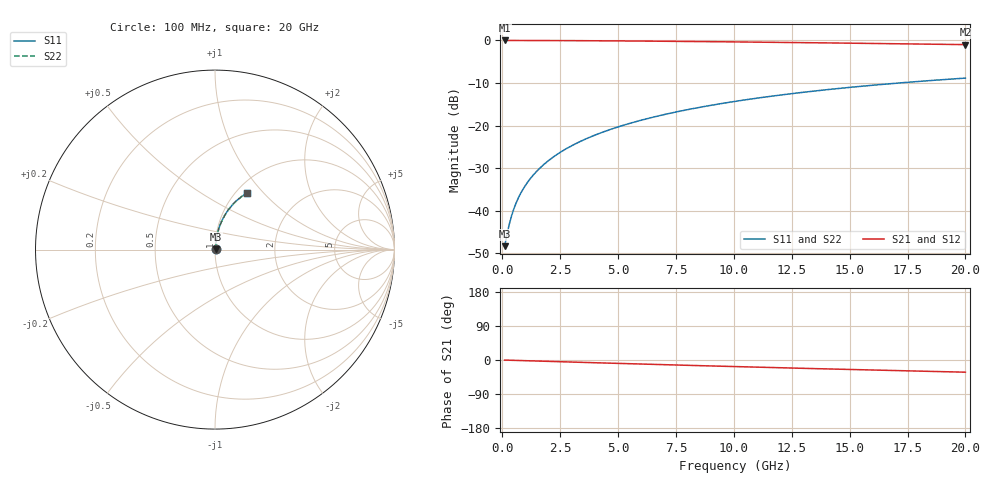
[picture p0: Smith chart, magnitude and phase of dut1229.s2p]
! Touchstone file exported from HFSS 2024.1.0
!  File:  C:/UserFiles/LocalFiles/RDL_TSV_Batchsim/temp_RDL_bottom_1229_1780244479.aedt
!  Generated:  12:23:57 AM Jun  1, 2026
!  Design:  RDL_bottom
!  Project:  temp_RDL_bottom_1229_1780244479
!  Setup:  Setup1
!  Solution:  Sweep
! Variables:
!  dtsv = 10.80580581um
!  hbump = 3um
!  htsv = 79.63um
!  ldown = 422.76um
!  lrdl = 100um
!  p = 40
!  p1 = 41.94um
!  rhole = 1um
!  t = 450um
!  tdown = 3.56um
!  trdl = 3.915915916um
!  wdown = 13.39um
!  wrdl = 20um
# GHz S MA R 50.000000
! Terminal data exported
! Port[1] = RDL1_T1
! Port[2] = RDL1_T2
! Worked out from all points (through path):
!   200 points, 100 MHz to 20 GHz, reference 50 ohm
!   highest |S21| = -0.03 dB at 100 MHz (marker M1); lowest = -1.0 dB at 20 GHz (marker M2)
!   group delay of S21, straight-line fit = 4.46 ps
!   lowest |S11| = -48.3 dB at 100 MHz (marker M3), VSWR 1.01, Z = 50.3 + j0.204 ohm
!   |S11| at or under -10 dB: start of sweep to 17.16 GHz
!   |S22| runs from -48.3 to -8.9 dB; largest |S21 - S12| = 2.6e-15
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0.1  0.003836 31.9  0.9967 -0.2  0.9967 -0.2  0.003836 31.9
! Gamma 0 0 0 0
! Port Impedance 50 0 50 0
0.2  0.005226 50.5  0.9967 -0.4  0.9967 -0.4  0.005226 50.5
0.3  0.006913 60.4  0.9966 -0.6  0.9966 -0.6  0.006913 60.4
0.4  0.008703 66.1  0.9965 -0.7  0.9965 -0.7  0.008703 66.1
0.5  0.01053 69.8  0.9964 -0.9  0.9964 -0.9  0.01053 69.8
0.6  0.01238 72.4  0.9962 -1.1  0.9962 -1.1  0.01238 72.4
0.8  0.0161 75.8  0.996 -1.5  0.996 -1.5  0.0161 75.8
1.1  0.02174 78.6  0.9957 -2.0  0.9957 -2.0  0.02174 78.6
1.3  0.02552 79.8  0.9954 -2.4  0.9954 -2.4  0.02552 79.8
1.6  0.03121 80.9  0.995 -2.9  0.995 -2.9  0.03121 80.9
2.1  0.04075 81.8  0.9941 -3.8  0.9941 -3.8  0.04075 81.8
2.7  0.05223 82.1  0.9927 -4.9  0.9927 -4.9  0.05223 82.1
3.5  0.06757 82.0  0.9905 -6.3  0.9905 -6.3  0.06757 82.0
4.2  0.08101 81.5  0.9881 -7.6  0.9881 -7.6  0.08101 81.5
5  0.09637 80.9  0.985 -9.0  0.985 -9.0  0.09637 80.9
5.9  0.1136 79.9  0.9811 -10.5  0.9811 -10.5  0.1136 79.9
6.8  0.1308 78.9  0.9767 -12.1  0.9767 -12.1  0.1308 78.9
8.3  0.1593 77.0  0.9688 -14.6  0.9688 -14.6  0.1593 77.0
10.1  0.193 74.6  0.9583 -17.5  0.9583 -17.5  0.193 74.6
13.4  0.2527 69.9  0.9372 -22.6  0.9372 -22.6  0.2527 69.9
16.7  0.3088 65.2  0.9145 -27.5  0.9145 -27.5  0.3088 65.2
20  0.3604 60.7  0.8907 -32.1  0.8907 -32.1  0.3604 60.7
